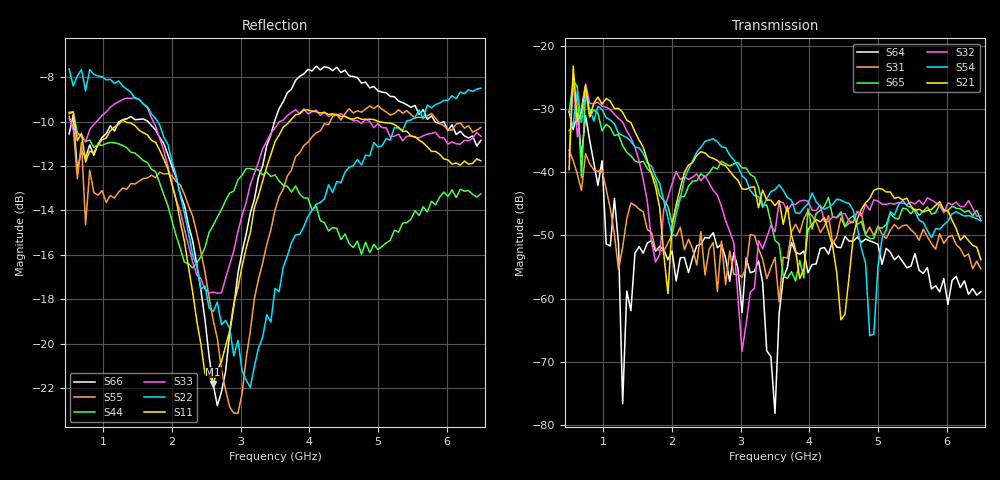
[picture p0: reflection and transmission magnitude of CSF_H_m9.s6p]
!Keysight Technologies,M9804A,MY58100912,A.14.10.03
!Date: Thursday, April 27, 2023 10:28:33
!Correction: S11(C  6-Port  )
!S12(C  6-Port  )
!S13(C  6-Port  )
!S14(C  6-Port  )
!S15(C  6-Port  )
!S16(C  6-Port  )
!S21(C  6-Port  )
!S22(C  6-Port  )
!S23(C  6-Port  )
!S24(C  6-Port  )
!S25(C  6-Port  )
!S26(C  6-Port  )
!S31(C  6-Port  )
!S32(C  6-Port  )
!S33(C  6-Port  )
!S34(C  6-Port  )
!S35(C  6-Port  )
!S36(C  6-Port  )
!S41(C  6-Port  )
!S42(C  6-Port  )
!S43(C  6-Port  )
!S44(C  6-Port  )
!S45(C  6-Port  )
!S46(C  6-Port  )
!S51(C  6-Port  )
!S52(C  6-Port  )
!S53(C  6-Port  )
!S54(C  6-Port  )
!S55(C  6-Port  )
!S56(C  6-Port  )
!S61(C  6-Port  )
!S62(C  6-Port  )
!S63(C  6-Port  )
!S64(C  6-Port  )
!S65(C  6-Port  )
!S66(C  6-Port  )
!S6P File: Measurement: :
# Hz S  RI  R 50
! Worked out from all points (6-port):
!   101 points, 500 MHz to 6.5 GHz, reference 50 ohm
!   strongest paths, dB at 500 MHz, 2 GHz, 3.5 GHz, 5 GHz, 6.5 GHz:
!     S21: -39.6, -48.4, -45.3, -42.6, -53.9
!     S54: -33.5, -50.0, -42.8, -55.0, -47.7
!     S32: -37.6, -41.8, -49.4, -44.6, -46.9
!     S65: -30.6, -48.1, -50.8, -48.7, -47.6
!     S31: -36.6, -49.9, -53.5, -48.6, -55.3
!     S64: -30.4, -52.5, -78.2, -51.4, -58.9
!   lowest |S11| = -21.8 dB at 2.6 GHz (marker M1), VSWR 1.18, Z = 42.7 + j1.97 ohm
!   |S11| at or under -10 dB: 580 MHz to 1.261 GHz (680.6 MHz wide, 74 % of centre); 1.315 GHz to 3.711 GHz (2.396 GHz wide, 95.3 % of centre); 5.011 GHz to end of sweep
